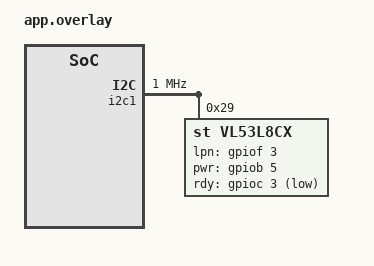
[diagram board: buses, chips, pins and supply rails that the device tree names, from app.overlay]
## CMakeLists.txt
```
cmake_minimum_required(VERSION 3.20.0)

find_package(Zephyr)
project(my_zephyr_test_app)

target_sources(app PRIVATE src/main.c)

# TODO
#set(SHIELD x_nucleo_iks01a1)
```

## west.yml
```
manifest:
  projects:
    - name: hal_st
      url: https://github.com/barchstien/hal_st.git
      revision: feature/vl53l8cx-driver
      path: modules/hal/st
      groups:
        - hal
    - name: zephyr
      url: https://github.com/barchstien/zephyr.git
      revision: feature/vl53l8cx-driver
      import: true
```

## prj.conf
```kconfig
CONFIG_VL53L8CX=y
###### test no interrupt
#CONFIG_VL53L8CX_INTERRUPT=n
##### test
#CONFIG_VL53L8CX_XCALIB=y

CONFIG_SENSOR=y
CONFIG_RTIO=y
CONFIG_I2C=y

# why already ? result data ?
CONFIG_MAIN_STACK_SIZE=4096

# LOG
CONFIG_LOG=y
# (0) OFF ERR WRN INF DBG (4)
CONFIG_SENSOR_LOG_LEVEL_DBG=y
CONFIG_LOG_MAX_LEVEL=4
#CONFIG_LOG_MODE_IMMEDIATE=y

# Adds thread name/id to every log line automatically
CONFIG_LOG_THREAD_ID_PREFIX=y
# Optional: Give threads names for better readability
CONFIG_THREAD_NAME=y

##################################

# Eth related, disable for now
## from aistudio
## Generic Networking Options
CONFIG_NETWORKING=y
##CONFIG_NET_L2_ETHERNET=y
CONFIG_NET_IPV4=y
CONFIG_NET_UDP=y
##CONFIG_NET_TCP=y
CONFIG_NET_STATISTICS=y
CONFIG_CRC=y
#
CONFIG_SYSTEM_WORKQUEUE_STACK_SIZE=2048
CONFIG_NET_MGMT_EVENT_STACK_SIZE=1536
#
## Enable the BSD Sockets API (Recommended for UDP)
CONFIG_NET_SOCKETS=y
CONFIG_POSIX_API=y
#
## Networking Shell (Optional but highly recommended for debugging)
CONFIG_NET_SHELL=y
#CONFIG_LOG=y
CONFIG_NET_LOG=y
#
## Enable high-level config library
CONFIG_NET_CONFIG_SETTINGS=y
CONFIG_NET_CONFIG_NEED_IPV4=y
## Set Static IP details
CONFIG_NET_CONFIG_MY_IPV4_ADDR="192.168.1.77"
CONFIG_NET_CONFIG_MY_IPV4_NETMASK="255.255.255.0"
CONFIG_NET_CONFIG_MY_IPV4_GW="192.168.1.1"
```

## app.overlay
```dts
/*
 * Copyright (c) 2026 Bastien Auneau <bastien.auneau@while-true.fr>
 *
 * SPDX-License-Identifier: Apache-2.0
 */

/*
 * WARNING: using PA7 as VL53L8CX PWR_EN
 *          which conflicts with spi1 and Eth
 *          disabling both for now
 *          Eth is not a concern as long as JP6 is open
 */
//&spi1 {
//	status = "disabled";
//};
//&mac {
//    status = "disabled";
//};

&i2c1 {
    status = "okay";
    /* 1 MHz, requires to set timings = som_hex, that is from STM32CubeMX */
    clock-frequency = <I2C_BITRATE_FAST_PLUS>; 
    timings = <54000000 I2C_BITRATE_FAST_PLUS 0x500C15>;
    /* 400Khz */
    //clock-frequency = <I2C_BITRATE_FAST>;
    vl53l8cx@29 {
        compatible = "st,vl53l8cx";
        reg = <0x29>;
        lpn-gpios = <&gpiof 3 GPIO_ACTIVE_HIGH>;
        pwr-gpios = <&gpiob 5 GPIO_ACTIVE_HIGH>;
        rdy-gpios = <&gpioc 3 GPIO_ACTIVE_LOW>;
    };
};
```

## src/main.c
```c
/*
 * Copyright (c) 2016 Intel Corporation
 *
 * SPDX-License-Identifier: Apache-2.0
 */

#include <stdio.h>
#include <zephyr/kernel.h>
//#include <zephyr/drivers/gpio.h>
#include <zephyr/drivers/sensor.h>
#include <zephyr/logging/log.h>
#include <zephyr/net/socket.h>
#include <zephyr/rtio/rtio.h>

#include <zephyr/drivers/sensor/vl53l8cx.h>

LOG_MODULE_REGISTER(playground_app, LOG_LEVEL_INF);

// debug
//#include <zephyr/sys/printk.h>
//#include "vl53l8cx_debug.h"

#define DEFAULT_SAMPLE_FREQ_HZ 15
#define DEFAULT_ZONE_CNT 64

#define MAX_ZONE_CNT 64

#define DEST_PORT 5005
#define DEST_ADDR "192.168.1.176"

/* 
 * 1. Define RTIO context with a dedicated Memory Pool.
 * Args: name, sq_size (pow 2), cq_size (pow 2), mem_blocks, block_byte_size, alignment 
 */
RTIO_DEFINE_WITH_MEMPOOL(
	vl53l8cx_rtio_ctx,           // name
	8,                      // submission
	8,                      // completion
	16,                     // num of blocks
	VL53L8CX_SENSOR_READ_BLOCK_SIZE,
	sizeof(void *)          // byte aligned
);

#define VL53L8CX_STREAM
#ifdef VL53L8CX_STREAM
SENSOR_DT_STREAM_IODEV(
	vl53l8cx_iodev, 
	DT_INST(0, st_vl53l8cx), 
	{ SENSOR_CHAN_DISTANCE, 0 }
);
#else
SENSOR_DT_READ_IODEV(
	vl53l8cx_iodev, 
	DT_INST(0, st_vl53l8cx), 
	{ SENSOR_CHAN_DISTANCE, 0 }
);
#endif

void wait_and_read(const struct sensor_decoder_api *decoder, int sock,
					struct sockaddr_in *dest_addr) {
	struct rtio_cqe *cqe;
	uint8_t *sensor_data_buff;
	uint32_t sensor_data_buff_len;
	struct sensor_chan_spec ch_spec = { SENSOR_CHAN_DISTANCE, 0 };
	static struct vl53l8cx_result_data result;
	int ret;

	// wait for a completion event
	cqe = rtio_cqe_consume_block(&vl53l8cx_rtio_ctx);
	if (cqe->result < 0) {
		LOG_ERR("cqe failed with result: %d", cqe->result);
		rtio_cqe_release(&vl53l8cx_rtio_ctx, cqe);
		return;
	}

	// Get data from completion queue element
	ret = rtio_cqe_get_mempool_buffer(&vl53l8cx_rtio_ctx, cqe, &sensor_data_buff, &sensor_data_buff_len);
	if (ret == 0) {
		// decode the data, always comes 1 by 1
		uint32_t fit = 0;
		ret = decoder->decode(sensor_data_buff, ch_spec, &fit, 1, &result);
		rtio_release_buffer(&vl53l8cx_rtio_ctx, sensor_data_buff, sensor_data_buff_len);
		
		// inverse image
		q15_t tmp[64];
		memcpy(tmp, result.readings[0].distance, sizeof(q15_t[64]));
		for (int i=0; i<8; i++) {
			for (int j=0; j<8; j++) {
				result.readings[0].distance[8*i + j] = tmp[8*(i+1) - (j + 1)];
			}
		}

		// send to UDP
		ret = zsock_sendto(
			sock, 
			(uint8_t*)(&result), 
			sizeof(struct vl53l8cx_result_data), 
			0, 
			(struct sockaddr*)dest_addr, 
			sizeof(struct sockaddr_in)
		);
		if (ret < 0) {
			LOG_ERR("UDP sendto failed errno:%d", errno);
		}
	}
	rtio_cqe_release(&vl53l8cx_rtio_ctx, cqe);
}

int main(void)
{
	int ret;

	LOG_INF("START ---- tick/sec:%d", CONFIG_SYS_CLOCK_TICKS_PER_SEC);

	const struct device *dev = DEVICE_DT_GET_ONE(st_vl53l8cx);

	if (!device_is_ready(dev)) {
		LOG_INF("dev NOT ready");
		return 0;
	}
	LOG_INF("%s ready", dev->name);

	// resolution
	struct sensor_value resolution = { .val1 = DEFAULT_ZONE_CNT, .val2 = 0 };
	LOG_INF("Setting resolution to %d Hz...", resolution.val1);
	ret = sensor_attr_set(
		dev, 
		SENSOR_CHAN_DISTANCE, 
		SENSOR_ATTR_RESOLUTION, 
		&resolution
	);
	if (ret != 0) {
		LOG_ERR("Failed to set resolution (error %d)", ret);
	}

	ret = sensor_attr_get(
		dev, 
		SENSOR_CHAN_DISTANCE, 
		SENSOR_ATTR_RESOLUTION, 
		&resolution
	);
	if (ret != 0) {
		LOG_ERR("Failed to get resolution (error %d)", ret);
	}

	// sample freq
	struct sensor_value sample_freq = { .val1 = DEFAULT_SAMPLE_FREQ_HZ, .val2 = 0 };
	LOG_INF("Setting frequency to %d Hz...", sample_freq.val1);
	ret = sensor_attr_set(
		dev, 
		SENSOR_CHAN_DISTANCE, 
		SENSOR_ATTR_SAMPLING_FREQUENCY, 
		&sample_freq
	);
	if (ret != 0) {
		LOG_ERR("Failed to set sample frequency (error %d)", ret);
	}
	ret = sensor_attr_get(
		dev, 
		SENSOR_CHAN_DISTANCE, 
		SENSOR_ATTR_SAMPLING_FREQUENCY, 
		&sample_freq
	);
	if (ret != 0) {
		LOG_ERR("Failed to get sample frequency (error %d)", ret);
	}

	// ranging mode
	// default is autonomous (good for power), using continuous (good for perf)
	struct sensor_value ranging_mode = { .val1 = VL53L8CX_RANGING_MODE_CONTINUOUS, .val2 = 0 };
	LOG_INF("Setting ranging mode to %d ...", ranging_mode.val1);
	ret = sensor_attr_set(
		dev, 
		SENSOR_CHAN_DISTANCE, 
		SENSOR_ATTR_VL53L8CX_RANGING_MODE, 
		&ranging_mode
	);
	if (ret != 0) {
		LOG_ERR("Failed to set ranging mode (error %d)", ret);
	}
	ret = sensor_attr_get(
		dev, 
		SENSOR_CHAN_DISTANCE, 
		SENSOR_ATTR_VL53L8CX_RANGING_MODE, 
		&ranging_mode
	);
	if (ret != 0) {
		LOG_ERR("Failed to get rangin mode (error %d)", ret);
	}

	// repeat count to trigger temp calibration "takes few msec"
	struct sensor_value vhv_repeat_cnt = { 
		.val1 = 15 * 60 * 10, // 10 min at 15Hz
		.val2 = 0 };
	LOG_INF("Setting VHV repeat count to %d ...", vhv_repeat_cnt.val1);
	ret = sensor_attr_set(
		dev, 
		SENSOR_CHAN_DISTANCE, 
		SENSOR_ATTR_VL53L8CX_VHV_REPEAT_COUNT, 
		&vhv_repeat_cnt
	);
	if (ret != 0) {
		LOG_ERR("Failed to set VHV repeat count (error %d)", ret);
	}
	ret = sensor_attr_get(
		dev, 
		SENSOR_CHAN_DISTANCE, 
		SENSOR_ATTR_VL53L8CX_VHV_REPEAT_COUNT, 
		&vhv_repeat_cnt
	);
	if (ret != 0) {
		LOG_ERR("Failed to get VHV repeat count (error %d)", ret);
	}

	// decoder
	const struct sensor_decoder_api *decoder;
	sensor_get_decoder(dev, &decoder);

	// UDP
	int sock;
	struct sockaddr_in dest_addr;
	sock = zsock_socket(AF_INET, SOCK_DGRAM, IPPROTO_UDP);
	if (sock < 0) {
		LOG_ERR("Failed to create socket: %d", errno);
		return -EIO;
	}
	// destination address
	dest_addr.sin_family = AF_INET;
	dest_addr.sin_port = htons(DEST_PORT);
	zsock_inet_pton(AF_INET, DEST_ADDR, &dest_addr.sin_addr);

	//// main loop
#ifdef VL53L8CX_STREAM
	//// streaming
	struct rtio_sqe *sqe = 0;
	// sensor_stream
	LOG_INF("sensor_stream()...");
	sensor_stream(&vl53l8cx_iodev, &vl53l8cx_rtio_ctx, NULL, &sqe);
	while (true) {
		wait_and_read(decoder, sock, &dest_addr);
	}
	rtio_sqe_cancel(sqe);
#else
	//// one-shot in a loop
	while (true) {
		ret = sensor_read_async_mempool(&vl53l8cx_iodev, &vl53l8cx_rtio_ctx, NULL);
		if (ret < 0) {
			LOG_ERR("Failed to submit read: %d", ret);
			continue;
		}
		wait_and_read(decoder, sock, &dest_addr);
		// TODO go to sleep, wake up, etc)
		k_msleep(1000);
	}
#endif
	zsock_close(sock);

}
```
